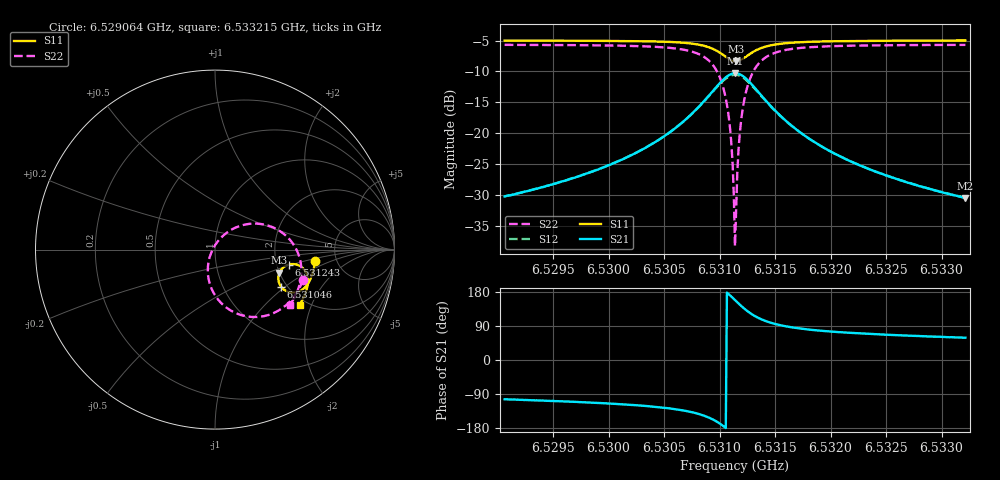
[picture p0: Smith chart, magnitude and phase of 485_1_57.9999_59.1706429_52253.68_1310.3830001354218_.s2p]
#  HZ  S  RI  R  50.00
! Rohde & Schwarz Vector Network Analyzer
! Rohde-Schwarz,ZNB20-2Port,1311601062101988,3.16
! Created: UTC 3/21/2024, 1:12:02 AM
! freq[Hz]  re:S11  im:S11  re:S21  im:S21  re:S12  im:S12  re:S22  im:S22
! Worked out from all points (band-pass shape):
!   401 points, 6.529064 GHz to 6.533215 GHz, reference 50 ohm
!   highest |S21| = -10.29 dB at 6.531139 GHz (marker M1); lowest = -30.4 dB at 6.533215 GHz (marker M2)
!   |S21| within 3 dB of the highest: 6.530934 GHz to 6.531348 GHz (414.7 kHz wide, 0.00635 % of centre)
!   lowest |S11| = -8.4 dB at 6.53115 GHz (marker M3), VSWR 2.23, Z = 100 - j30.1 ohm
!   |S11| at or under -10 dB: nowhere
!   |S22| runs from -38.2 to -5.7 dB; largest |S21 - S12| = 0.012
!   S11 on the Smith chart (normalised r, x): 6.529064 GHz: 3.42, -0.64; 6.531046 GHz: 1.86, -0.93; 6.531243 GHz: 2.33, -0.47; 6.533215 GHz: 1.82, -1.64
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6.5290636e9  0.5573 -0.0643  -0.00732 -0.0302  -0.00787 -0.0301  0.4908 -0.1679
6.5297589e9  0.5465 -0.122  -0.0169 -0.0429  -0.0177 -0.0426  0.4603 -0.2325
6.5304543e9  0.5176 -0.1905  -0.0504 -0.0735  -0.0524 -0.072  0.3788 -0.3233
6.530693e9  0.4905 -0.2202  -0.09 -0.0925  -0.0927 -0.0896  0.2988 -0.364
6.5308695e9  0.4468 -0.2391  -0.1579 -0.0987  -0.1601 -0.0926  0.1729 -0.3713
6.5309733e9  0.4024 -0.2336  -0.2269 -0.0724  -0.2261 -0.0632  0.0553 -0.3166
6.5310459e9  0.3677 -0.2061  -0.2779 -0.0141  -0.2722 -0.00441  -0.0223 -0.2101
6.5310874e9  0.355 -0.1783  -0.2939 0.0386  -0.2851 0.0464  -0.0401 -0.1199
6.5311082e9  0.3529 -0.162  -0.2944 0.0685  -0.2845 0.0748  -0.0362 -0.0704
6.5311186e9  0.3532 -0.1535  -0.2926 0.0838  -0.2821 0.0891  -0.0307 -0.0456
6.5311289e9  0.3542 -0.145  -0.289 0.0989  -0.2784 0.1034  -0.0225 -0.0212
6.5311393e9  0.3563 -0.1367  -0.2841 0.1138  -0.2733 0.1173  -0.0121 0.00237
6.5311497e9  0.3592 -0.1286  -0.2777 0.1281  -0.2668 0.1305  0.000599 0.0247
6.5311601e9  0.363 -0.121  -0.2699 0.1417  -0.2594 0.1431  0.0156 0.0458
6.5311808e9  0.3727 -0.1073  -0.2509 0.1658  -0.2408 0.1654  0.0506 0.0822
6.5311912e9  0.3785 -0.1013  -0.24 0.1759  -0.2304 0.1749  0.0701 0.0974
6.5312431e9  0.4116 -0.0831  -0.1793 0.208  -0.1729 0.2048  0.1751 0.1411
6.5313157e9  0.4547 -0.0836  -0.104 0.21  -0.1007 0.2068  0.3025 0.1315
6.5314195e9  0.492 -0.1062  -0.0392 0.1785  -0.0377 0.1769  0.4082 0.0645
6.5318347e9  0.5173 -0.1863  0.0161 0.0859  0.0171 0.0857  0.4814 -0.1282
6.5325301e9  0.4978 -0.2574  0.018 0.0411  0.0188 0.0409  0.4534 -0.245
6.5332151e9  0.4708 -0.3084  0.0156 0.0258  0.0162 0.0255  0.4186 -0.3061
